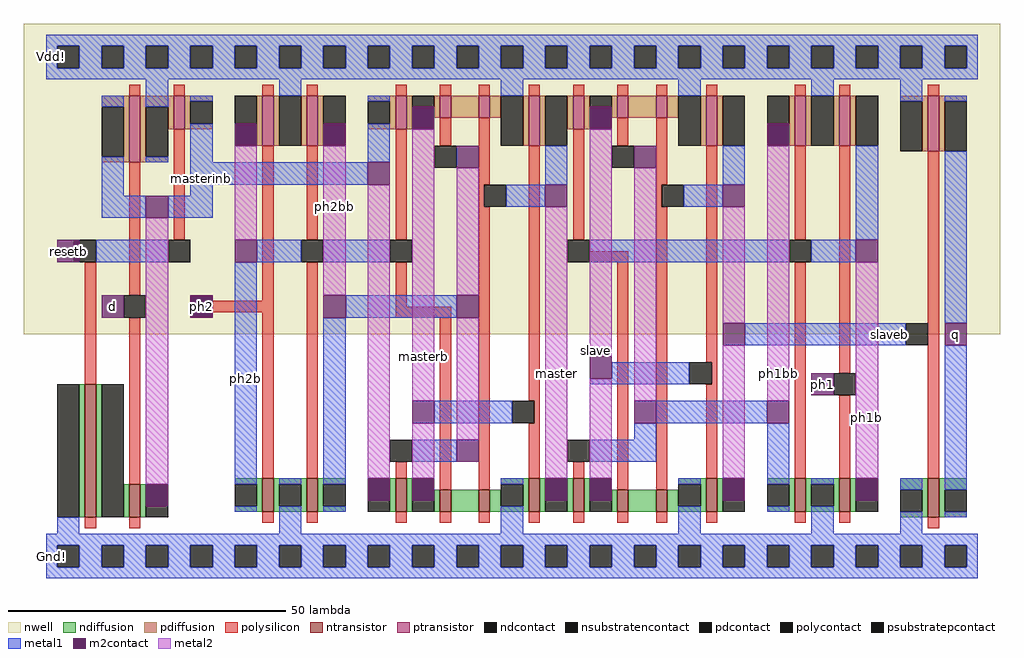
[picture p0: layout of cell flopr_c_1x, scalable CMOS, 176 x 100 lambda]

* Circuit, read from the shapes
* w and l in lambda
.subckt flopr_c_1x Gnd! Vdd! d master masterb masterinb ph1 ph1b ph1bb ph2 ph2b ph2bb q resetb slave slaveb
M1 n1 resetb Gnd! Gnd! nfet w=24 l=2
M2 masterinb d n1 Gnd! nfet w=6 l=2
M3 Gnd! ph2 ph2b Gnd! nfet w=6 l=2
M4 ph2bb ph2b Gnd! Gnd! nfet w=6 l=2
M5 masterb ph2bb masterinb Gnd! nfet w=6 l=2
M6 n2 ph2b masterb Gnd! nfet w=4 l=2
M7 Gnd! master n2 Gnd! nfet w=4 l=2
M8 master masterb Gnd! Gnd! nfet w=6 l=2
M9 slave ph1bb master Gnd! nfet w=6 l=2
M10 n3 ph1b slave Gnd! nfet w=4 l=2
M11 Gnd! slaveb n3 Gnd! nfet w=4 l=2
M12 slaveb slave Gnd! Gnd! nfet w=6 l=2
M13 Gnd! ph1b ph1bb Gnd! nfet w=6 l=2
M14 ph1b ph1 Gnd! Gnd! nfet w=6 l=2
M15 q slaveb Gnd! Gnd! nfet w=7 l=2
M16 Vdd! d masterinb Vdd! pfet w=12 l=2
M17 masterinb resetb Vdd! Vdd! pfet w=6 l=2
M18 Vdd! ph2 ph2b Vdd! pfet w=9 l=2
M19 ph2bb ph2b Vdd! Vdd! pfet w=9 l=2
M20 masterb ph2b masterinb Vdd! pfet w=6 l=2
M21 n4 ph2bb masterb Vdd! pfet w=4 l=2
M22 Vdd! master n4 Vdd! pfet w=4 l=2
M23 master masterb Vdd! Vdd! pfet w=9 l=2
M24 slave ph1b master Vdd! pfet w=6 l=2
M25 n5 ph1bb slave Vdd! pfet w=4 l=2
M26 Vdd! slaveb n5 Vdd! pfet w=4 l=2
M27 slaveb slave Vdd! Vdd! pfet w=9 l=2
M28 Vdd! ph1b ph1bb Vdd! pfet w=9 l=2
M29 ph1b ph1 Vdd! Vdd! pfet w=9 l=2
M30 q slaveb Vdd! Vdd! pfet w=10 l=2
.ends

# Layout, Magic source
magic
tech scmos
<< nwell >>
rect 18 40 194 96
<< ntransistor >>
rect 29 7 31 31
rect 37 7 39 13
rect 61 8 63 14
rect 69 8 71 14
rect 85 8 87 14
rect 93 8 95 12
rect 100 8 102 12
rect 109 8 111 14
rect 117 8 119 14
rect 125 8 127 12
rect 132 8 134 12
rect 141 8 143 14
rect 157 8 159 14
rect 165 8 167 14
rect 181 7 183 14
<< ptransistor >>
rect 37 71 39 83
rect 45 77 47 83
rect 61 74 63 83
rect 69 74 71 83
rect 85 77 87 83
rect 93 79 95 83
rect 100 79 102 83
rect 109 74 111 83
rect 117 77 119 83
rect 125 79 127 83
rect 132 79 134 83
rect 141 74 143 83
rect 157 74 159 83
rect 165 74 167 83
rect 181 73 183 83
<< ndiffusion >>
rect 28 7 29 31
rect 31 7 32 31
rect 56 13 61 14
rect 36 7 37 13
rect 39 7 40 13
rect 60 9 61 13
rect 56 8 61 9
rect 63 13 69 14
rect 63 9 64 13
rect 68 9 69 13
rect 63 8 69 9
rect 71 13 76 14
rect 71 9 72 13
rect 71 8 76 9
rect 84 8 85 14
rect 87 8 88 14
rect 104 13 109 14
rect 92 8 93 12
rect 95 8 100 12
rect 102 9 104 12
rect 108 9 109 13
rect 102 8 109 9
rect 111 8 112 14
rect 116 8 117 14
rect 119 8 120 14
rect 136 13 141 14
rect 124 8 125 12
rect 127 8 132 12
rect 134 9 136 12
rect 140 9 141 13
rect 134 8 141 9
rect 143 8 144 14
rect 152 13 157 14
rect 156 9 157 13
rect 152 8 157 9
rect 159 13 165 14
rect 159 9 160 13
rect 164 9 165 13
rect 159 8 165 9
rect 167 8 168 14
rect 176 12 181 14
rect 180 8 181 12
rect 176 7 181 8
rect 183 12 188 14
rect 183 8 184 12
rect 183 7 188 8
<< pdiffusion >>
rect 32 81 37 83
rect 36 72 37 81
rect 32 71 37 72
rect 39 81 45 83
rect 39 72 40 81
rect 44 77 45 81
rect 47 82 52 83
rect 47 78 48 82
rect 47 77 52 78
rect 39 71 44 72
rect 60 74 61 83
rect 63 74 64 83
rect 68 74 69 83
rect 71 74 72 83
rect 80 82 85 83
rect 84 78 85 82
rect 80 77 85 78
rect 87 77 88 83
rect 92 79 93 83
rect 95 79 100 83
rect 102 79 104 83
rect 108 74 109 83
rect 111 74 112 83
rect 116 77 117 83
rect 119 77 120 83
rect 124 79 125 83
rect 127 79 132 83
rect 134 79 136 83
rect 140 74 141 83
rect 143 74 144 83
rect 156 74 157 83
rect 159 74 160 83
rect 164 74 165 83
rect 167 74 168 83
rect 176 82 181 83
rect 180 73 181 82
rect 183 82 188 83
rect 183 73 184 82
<< ndcontact >>
rect 24 7 28 31
rect 32 7 36 31
rect 40 7 44 13
rect 56 9 60 13
rect 64 9 68 13
rect 72 9 76 13
rect 80 8 84 14
rect 88 8 92 14
rect 104 9 108 13
rect 112 8 116 14
rect 120 8 124 14
rect 136 9 140 13
rect 144 8 148 14
rect 152 9 156 13
rect 160 9 164 13
rect 168 8 172 14
rect 176 8 180 12
rect 184 8 188 12
<< pdcontact >>
rect 32 72 36 81
rect 40 72 44 81
rect 48 78 52 82
rect 56 74 60 83
rect 64 74 68 83
rect 72 74 76 83
rect 80 78 84 82
rect 88 77 92 83
rect 104 74 108 83
rect 112 74 116 83
rect 120 77 124 83
rect 136 74 140 83
rect 144 74 148 83
rect 152 74 156 83
rect 160 74 164 83
rect 168 74 172 83
rect 176 73 180 82
rect 184 73 188 82
<< psubstratepcontact >>
rect 24 -2 28 2
rect 32 -2 36 2
rect 40 -2 44 2
rect 48 -2 52 2
rect 56 -2 60 2
rect 64 -2 68 2
rect 72 -2 76 2
rect 80 -2 84 2
rect 88 -2 92 2
rect 96 -2 100 2
rect 104 -2 108 2
rect 112 -2 116 2
rect 120 -2 124 2
rect 128 -2 132 2
rect 136 -2 140 2
rect 144 -2 148 2
rect 152 -2 156 2
rect 160 -2 164 2
rect 168 -2 172 2
rect 176 -2 180 2
rect 184 -2 188 2
<< nsubstratencontact >>
rect 24 88 28 92
rect 32 88 36 92
rect 40 88 44 92
rect 48 88 52 92
rect 56 88 60 92
rect 64 88 68 92
rect 72 88 76 92
rect 80 88 84 92
rect 88 88 92 92
rect 96 88 100 92
rect 104 88 108 92
rect 112 88 116 92
rect 120 88 124 92
rect 128 88 132 92
rect 136 88 140 92
rect 144 88 148 92
rect 152 88 156 92
rect 160 88 164 92
rect 168 88 172 92
rect 176 88 180 92
rect 184 88 188 92
<< polysilicon >>
rect 37 83 39 85
rect 45 83 47 85
rect 61 83 63 85
rect 69 83 71 85
rect 85 83 87 85
rect 93 83 95 85
rect 100 83 102 85
rect 109 83 111 85
rect 117 83 119 85
rect 125 83 127 85
rect 132 83 134 85
rect 141 83 143 85
rect 157 83 159 85
rect 165 83 167 85
rect 181 83 183 85
rect 29 31 31 53
rect 37 47 39 71
rect 45 57 47 77
rect 61 46 63 74
rect 69 57 71 74
rect 85 57 87 77
rect 93 74 95 79
rect 100 67 102 79
rect 100 63 101 67
rect 52 44 63 46
rect 37 13 39 43
rect 61 14 63 44
rect 69 14 71 53
rect 85 45 87 53
rect 85 43 95 45
rect 85 14 87 17
rect 93 12 95 43
rect 100 12 102 63
rect 109 28 111 74
rect 117 57 119 77
rect 125 74 127 79
rect 132 67 134 79
rect 132 63 133 67
rect 120 53 127 55
rect 110 24 111 28
rect 109 14 111 24
rect 117 14 119 17
rect 125 12 127 53
rect 132 12 134 63
rect 141 35 143 74
rect 157 57 159 74
rect 142 31 143 35
rect 141 14 143 31
rect 157 14 159 53
rect 165 33 167 74
rect 165 14 167 29
rect 181 14 183 73
rect 29 5 31 7
rect 37 5 39 7
rect 61 6 63 8
rect 69 6 71 8
rect 85 6 87 8
rect 93 6 95 8
rect 100 6 102 8
rect 109 6 111 8
rect 117 6 119 8
rect 125 6 127 8
rect 132 6 134 8
rect 141 6 143 8
rect 157 6 159 8
rect 165 6 167 8
rect 181 5 183 7
<< polycontact >>
rect 27 53 31 57
rect 44 53 48 57
rect 36 43 40 47
rect 48 43 52 47
rect 92 70 96 74
rect 101 63 105 67
rect 68 53 72 57
rect 84 53 88 57
rect 84 17 88 21
rect 124 70 128 74
rect 133 63 137 67
rect 116 53 120 57
rect 106 24 110 28
rect 116 17 120 21
rect 156 53 160 57
rect 138 31 142 35
rect 177 38 181 42
rect 164 29 168 33
<< metal1 >>
rect 22 92 190 94
rect 22 88 24 92
rect 28 88 32 92
rect 36 88 40 92
rect 44 88 48 92
rect 52 88 56 92
rect 60 88 64 92
rect 68 88 72 92
rect 76 88 80 92
rect 84 88 88 92
rect 92 88 96 92
rect 100 88 104 92
rect 108 88 112 92
rect 116 88 120 92
rect 124 88 128 92
rect 132 88 136 92
rect 140 88 144 92
rect 148 88 152 92
rect 156 88 160 92
rect 164 88 168 92
rect 172 88 176 92
rect 180 88 184 92
rect 188 88 190 92
rect 22 86 190 88
rect 32 81 36 83
rect 32 65 36 72
rect 40 81 44 86
rect 64 83 68 86
rect 104 83 108 86
rect 136 83 140 86
rect 160 83 164 86
rect 40 71 44 72
rect 48 82 52 83
rect 48 71 52 78
rect 80 82 84 83
rect 80 71 84 78
rect 48 67 80 71
rect 112 67 116 74
rect 144 67 148 74
rect 48 65 52 67
rect 32 61 40 65
rect 44 61 52 65
rect 105 63 112 67
rect 137 63 144 67
rect 168 57 172 74
rect 176 82 180 86
rect 184 82 188 83
rect 31 53 44 57
rect 60 53 68 57
rect 72 53 84 57
rect 120 53 156 57
rect 160 53 168 57
rect 56 13 60 53
rect 76 43 96 47
rect 56 8 60 9
rect 64 13 68 14
rect 24 4 28 7
rect 64 4 68 9
rect 72 13 76 43
rect 184 42 188 73
rect 148 38 177 42
rect 124 32 138 35
rect 120 31 138 32
rect 92 24 106 28
rect 132 24 152 28
rect 128 21 132 24
rect 88 17 96 21
rect 120 17 132 21
rect 72 8 76 9
rect 104 13 108 14
rect 104 4 108 9
rect 136 13 140 14
rect 136 4 140 9
rect 152 13 156 24
rect 152 8 156 9
rect 160 13 164 14
rect 160 4 164 9
rect 176 12 180 14
rect 176 4 180 8
rect 184 12 188 38
rect 184 7 188 8
rect 22 2 190 4
rect 22 -2 24 2
rect 28 -2 32 2
rect 36 -2 40 2
rect 44 -2 48 2
rect 52 -2 56 2
rect 60 -2 64 2
rect 68 -2 72 2
rect 76 -2 80 2
rect 84 -2 88 2
rect 92 -2 96 2
rect 100 -2 104 2
rect 108 -2 112 2
rect 116 -2 120 2
rect 124 -2 128 2
rect 132 -2 136 2
rect 140 -2 144 2
rect 148 -2 152 2
rect 156 -2 160 2
rect 164 -2 168 2
rect 172 -2 176 2
rect 180 -2 184 2
rect 188 -2 190 2
rect 22 -4 190 -2
<< m2contact >>
rect 56 74 60 78
rect 72 74 76 78
rect 88 77 92 81
rect 120 77 124 81
rect 152 74 156 78
rect 80 67 84 71
rect 96 70 100 74
rect 128 70 132 74
rect 40 61 44 65
rect 112 63 116 67
rect 144 63 148 67
rect 24 53 27 57
rect 27 53 28 57
rect 56 53 60 57
rect 168 53 172 57
rect 32 43 36 47
rect 48 43 52 47
rect 72 43 76 47
rect 96 43 100 47
rect 40 9 44 13
rect 144 38 148 42
rect 184 38 188 42
rect 120 32 124 36
rect 160 29 164 33
rect 88 24 92 28
rect 128 24 132 28
rect 152 24 156 28
rect 96 17 100 21
rect 80 10 84 14
rect 88 10 92 14
rect 112 10 116 14
rect 120 10 124 14
rect 144 10 148 14
rect 168 10 172 14
<< metal2 >>
rect 40 13 44 61
rect 56 57 60 74
rect 72 47 76 74
rect 80 14 84 67
rect 88 28 92 77
rect 88 14 92 24
rect 96 47 100 70
rect 96 21 100 43
rect 112 14 116 63
rect 120 36 124 77
rect 120 14 124 32
rect 128 28 132 70
rect 144 42 148 63
rect 144 14 148 38
rect 152 28 156 74
rect 168 14 172 53
<< labels >>
rlabel m2contact 26 55 26 55 1 resetb
rlabel metal1 23 90 23 90 3 Vdd!
rlabel metal1 23 0 23 0 3 Gnd!
rlabel m2contact 186 40 186 40 1 q
rlabel m2contact 162 31 162 31 1 ph1
rlabel m2contact 34 45 34 45 1 d
rlabel m2contact 50 45 50 45 1 ph2
rlabel metal1 50 68 50 68 1 masterinb
rlabel metal1 58 32 58 32 1 ph2b
rlabel metal2 170 25 170 25 1 ph1b
rlabel metal1 174 40 174 40 1 slaveb
rlabel metal2 74 63 74 63 1 ph2bb
rlabel metal2 154 33 154 33 1 ph1bb
rlabel metal2 121 37 121 37 1 slave
rlabel metal2 90 36 90 36 1 masterb
rlabel metal2 114 33 114 33 1 master
<< end >>
